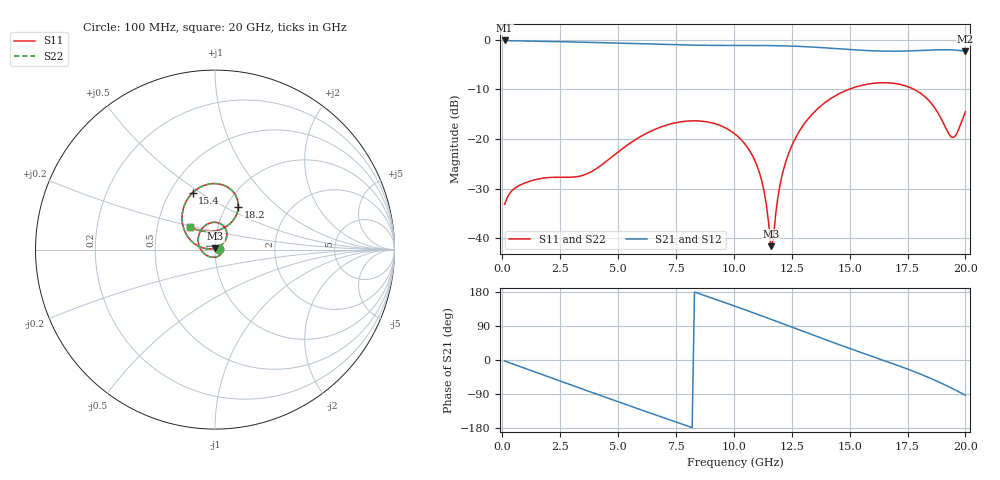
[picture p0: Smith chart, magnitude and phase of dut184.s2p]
! Touchstone file exported from HFSS 2026.1.0
!  File:  C:/ffzhzh/LocalFiles/Ansys_Project_Files/temp_train_TSV_RDL_184_1783057881_36532.aedt
!  Generated:  02:07:03 PM Jul  3, 2026
!  Design:  TSV_RDL
!  Project:  temp_train_TSV_RDL_184_1783057881_36532
! Variables:
!  h_bsmrdl = 5.9um
!  h_ox = 20um
!  h_rdl = 5um
!  h_sub = 82.59um
!  h_tmrdl = 4.93um
!  h_tsv = 82.59um
!  h_via = 3um
!  l_bsmrdl = 981.04um
!  l_sub = 6912.94um
!  l_tmrdl = 855.72um
!  m_sub = 200um
!  pitch = 32.07um
!  r_tsv = 9.95um
!  s_tmrdl = 10um
!  w_bsmrdl = 29.67um
!  w_sub = 500um
!  w_tmrdl = 19.31um
!  x_tsv_center1 = 865.375um
!  x_tsv_center2 = 1876.085um
!  x_tsv_center3 = 2751.115um
!  x_tsv_center4 = 3761.825um
!  x_tsv_center5 = 4636.855um
!  x_tsv_center6 = 5647.565um
# GHz S MA R 50.000000
! Terminal data exported
! Port[1] = TM_RDL1_1_T1
! Port[2] = TM_RDL5_1_T1
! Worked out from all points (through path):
!   200 points, 100 MHz to 20 GHz, reference 50 ohm
!   highest |S21| = -0.19 dB at 100 MHz (marker M1); lowest = -2.4 dB at 20 GHz (marker M2)
!   group delay of S21, straight-line fit = 61.3 ps
!   lowest |S11| = -41.6 dB at 11.6 GHz (marker M3), VSWR 1.02, Z = 50.1 + j0.828 ohm
!   |S11| at or under -10 dB: start of sweep to 14.98 GHz; 17.77 GHz to end of sweep
!   |S22| runs from -42.0 to -8.7 dB; largest |S21 - S12| = 1.5e-14
!   S11 on the Smith chart (normalised r, x): 100 MHz: 1.04, +0.01; 15.4 GHz: 0.65, +0.46; 18.2 GHz: 1.14, +0.59; 20 GHz: 0.73, +0.19
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0.1  0.02208 12.4  0.9786 -2.5  0.9786 -2.5  0.02208 12.4
! Gamma 0 0 0 0
! Port Impedance 50 0 50 0
0.5  0.03148 10.4  0.9702 -11.5  0.9702 -11.5  0.03147 10.4
1.6  0.03978 -13.0  0.9604 -35.8  0.9604 -35.8  0.03978 -13.1
3.5  0.04323 -96.8  0.9399 -77.5  0.9399 -77.5  0.04324 -96.8
5  0.07393 -173.7  0.9202 -110.1  0.9202 -110.1  0.07395 -173.7
6.8  0.1307 128.8  0.8939 -148.8  0.8939 -148.8  0.1307 128.8
8.4  0.1521 89.8  0.8768 177.3  0.8768 177.3  0.1521 89.7
10.1  0.1097 52.8  0.8716 140.9  0.8716 140.9  0.1096 52.6
11.1  0.04616 36.0  0.8706 118.8  0.8706 118.8  0.04608 35.6
11.4  0.02231 39.8  0.8696 112.1  0.8696 112.1  0.02215 38.9
11.6  0.008357 81.5  0.8685 107.5  0.8685 107.5  0.007983 80.5
11.7  0.009568 140.0  0.8679 105.3  0.8679 105.3  0.009276 141.6
11.9  0.02576 171.2  0.8663 100.7  0.8663 100.7  0.02569 172.1
12.2  0.05471 173.7  0.8631 93.8  0.8631 93.8  0.0547 174.1
12.7  0.1061 166.3  0.8554 82.3  0.8554 82.3  0.1061 166.5
13.4  0.1791 152.4  0.8398 66.3  0.8398 66.3  0.1792 152.5
15.4  0.3403 111.4  0.7825 21.8  0.7825 21.8  0.3404 111.4
16.7  0.3665 86.7  0.7635 -6.1  0.7635 -6.1  0.3665 86.7
18.2  0.2722 61.5  0.7783 -40.7  0.7783 -40.7  0.2721 61.4
19.4  0.1042 90.0  0.787 -74.1  0.787 -74.1  0.1035 90.0
19.6  0.1101 113.6  0.7819 -80.2  0.7819 -80.2  0.1094 113.8
20  0.1877 137.8  0.7616 -93.0  0.7616 -93.0  0.1873 138.0
